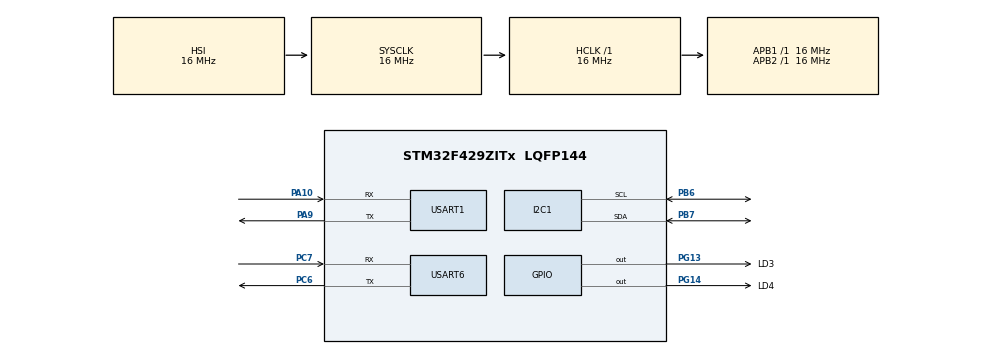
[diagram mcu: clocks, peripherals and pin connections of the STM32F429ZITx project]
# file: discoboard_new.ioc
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Mcu.Family=STM32F4
Mcu.Name=STM32F429ZITx
Mcu.Package=LQFP144
NVIC.I2C1_EV_IRQn=true\:0\:0\:false\:false\:true\:true\:true
NVIC.PriorityGroup=NVIC_PRIORITYGROUP_4
NVIC.USART1_IRQn=true\:0\:0\:false\:false\:true\:true\:true
NVIC.USART6_IRQn=true\:0\:0\:false\:false\:true\:true\:true
PA10.Mode=Asynchronous
PA10.Signal=USART1_RX
PA9.Mode=Asynchronous
PA9.Signal=USART1_TX
PB6.Mode=I2C
PB6.Signal=I2C1_SCL
PB7.Mode=I2C
PB7.Signal=I2C1_SDA
PC6.Mode=Asynchronous
PC6.Signal=USART6_TX
PC7.Mode=Asynchronous
PC7.Signal=USART6_RX
PG13.GPIO_Label=LD3
PG13.Signal=GPIO_Output
PG14.GPIO_Label=LD4
PG14.Signal=GPIO_Output
ProjectManager.HeapSize=0x200
ProjectManager.StackSize=0x400
ProjectManager.TargetToolchain=STM32CubeIDE
RCC.AHBFreq_Value=16000000
RCC.APB1Freq_Value=16000000
RCC.APB2Freq_Value=16000000
RCC.CortexFreq_Value=16000000
RCC.HSE_VALUE=25000000
RCC.HSI_VALUE=16000000
RCC.LSE_VALUE=32768
RCC.SYSCLKFreq_VALUE=16000000
RCC.VCOOutputFreq_Value=192000000
USART1.VirtualMode=VM_ASYNC
USART6.VirtualMode=VM_ASYNC
board=custom

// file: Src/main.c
/* USER CODE BEGIN Header */
/**
  ******************************************************************************
  * @file           : main.c
  * @brief          : Main program body
  ******************************************************************************
  * @attention
  *
  * <h2><center>&copy; Copyright (c) 2020 STMicroelectronics.
  * All rights reserved.</center></h2>
  *
  * This software component is licensed by ST under BSD 3-Clause license,
  * the "License"; You may not use this file except in compliance with the
  * License. You may obtain a copy of the License at:
  *                        opensource.org/licenses/BSD-3-Clause
  *
  ******************************************************************************
  */
/* USER CODE END Header */
#include <GroundStation.h>
#include "main.h"
#include "i2c.h"
#include "usart.h"
#include "gpio.h"

/* USER CODE BEGIN Includes */
#include "disco_helper_functions.h"
#include "helper_functions.h"
#include "EPS.h"
#include "UHF.h"
#include "CySat_I_Settings.h"
#include "BatteryCapacity.h"
#include <stdlib.h>
/* USER CODE END Includes */

/* USER CODE BEGIN PTD */
#define INITIAL_WAIT 1*60*1000 //waits 1 minute
/* USER CODE END PTD */

/* USER CODE BEGIN PV */
Sat_Flags_t SatFlags;
uint8_t data_echo[] = "H";
uint8_t GroundStationRxBuffer[7];
uint32_t GroundStationRxDataLength;
/* USER CODE END PV */

void SystemClock_Config(void);

int main(void)
{

  /* MCU Configuration--------------------------------------------------------*/

  /* Reset of all peripherals, Initializes the Flash interface and the Systick. */
  HAL_Init();

  /* Configure the system clock */
  SystemClock_Config();

  /* Initialize all configured peripherals */
  MX_GPIO_Init();
  MX_I2C1_Init();
  MX_USART1_UART_Init();
  MX_USART6_UART_Init();
  /* USER CODE BEGIN 2 */
  SatFlags.Detumbling = 0;
  SatFlags.Auto_Control = 0;
  SatFlags.Infinity_Detumbling = 0;
  SatFlags.AD_is_Running = 0;
  SatFlags.Antenna_is_Released = 0;
  SatFlags.Battery_Low = 0;
  SatFlags.MelodyEnabled = 0;
  SatFlags.CameraReady = 0;
  SatFlags.MakePicture = 0;
  SatFlags.Gyros_ON_OFF = 0;
  SatFlags.BeaconEnabled = 0;

  GroundStationRxDataLength = 4;
  HAL_UART_Receive_IT(&huart1, GroundStationRxBuffer, 4);
//  HAL_UART_Receive_IT(&huart6, data_echo, 1);
//  HAL_I2C_Master_Receive_IT(&hi2c1, 0x18 << 1, data_echo, 1);
  /* USER CODE END 2 */

  /* Infinite loop */
  while (1)
  {

  }
}

void SystemClock_Config(void)
{
    RCC_OscInitTypeDef RCC_OscInitStruct = {0};
  RCC_ClkInitTypeDef RCC_ClkInitStruct = {0};

  /** Configure the main internal regulator output voltage
  */
  __HAL_RCC_PWR_CLK_ENABLE();
  __HAL_PWR_VOLTAGESCALING_CONFIG(PWR_REGULATOR_VOLTAGE_SCALE3);
  /** Initializes the RCC Oscillators according to the specified parameters
  * in the RCC_OscInitTypeDef structure.
  */
  RCC_OscInitStruct.OscillatorType = RCC_OSCILLATORTYPE_HSI;
  RCC_OscInitStruct.HSIState = RCC_HSI_ON;
  RCC_OscInitStruct.HSICalibrationValue = RCC_HSICALIBRATION_DEFAULT;
  RCC_OscInitStruct.PLL.PLLState = RCC_PLL_NONE;
  if (HAL_RCC_OscConfig(&RCC_OscInitStruct) != HAL_OK)
  {
    Error_Handler();
  }
  /** Initializes the CPU, AHB and APB buses clocks
  */
  RCC_ClkInitStruct.ClockType = RCC_CLOCKTYPE_HCLK|RCC_CLOCKTYPE_SYSCLK
                              |RCC_CLOCKTYPE_PCLK1|RCC_CLOCKTYPE_PCLK2;
  RCC_ClkInitStruct.SYSCLKSource = RCC_SYSCLKSOURCE_HSI;
  RCC_ClkInitStruct.AHBCLKDivider = RCC_SYSCLK_DIV1;
  RCC_ClkInitStruct.APB1CLKDivider = RCC_HCLK_DIV1;
  RCC_ClkInitStruct.APB2CLKDivider = RCC_HCLK_DIV1;

  if (HAL_RCC_ClockConfig(&RCC_ClkInitStruct, FLASH_LATENCY_0) != HAL_OK)
  {
    Error_Handler();
  }
}

/* USER CODE BEGIN 4 */
void HAL_UART_RxCpltCallback(UART_HandleTypeDef *huart)
{
	if(huart == &huart1){ //OBC connected to computer
        if(handleCySatPacket(parseCySatPacket(GroundStationRxBuffer)) == -1){ //error occurred
            sendErrorPacket();
        }
		HAL_UART_Receive_IT(&huart1,GroundStationRxBuffer, 4);
	}
	else if(huart == &huart6){ //OBC connected to Payload
		debug_printf("Got UART6 Connection!");
		HAL_UART_Receive_IT(&huart6, data_echo, 1);
	}
}

void HAL_I2C_MasterRxCpltCallback(I2C_HandleTypeDef *hi2c){
	if(hi2c == &hi2c1){ //OBC connected to EPS, UHF, and ADCS
		debug_printf("Got I2C Connection!");
		HAL_I2C_Master_Receive_IT(&hi2c1, 0x18 << 1, data_echo, 1);
	}
}
/* USER CODE END 4 */

void Error_Handler(void)
{
}

/************************ (C) COPYRIGHT STMicroelectronics *****END OF FILE****/
